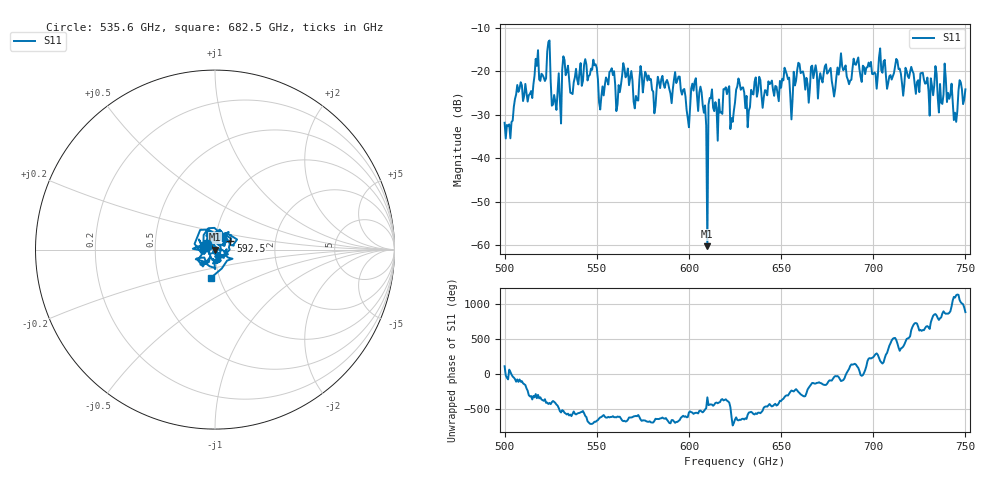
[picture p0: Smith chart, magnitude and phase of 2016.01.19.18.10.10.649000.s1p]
!Created with skrf (http://scikit-rf.org).
# GHz S RI R 50.0
!freq ReS11 ImS11
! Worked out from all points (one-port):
!   401 points, 500 GHz to 750 GHz, reference 50 ohm
!   lowest |S11| = -60.2 dB at 610 GHz (marker M1), VSWR 1.00, Z = 50.1 + j0.0492 ohm
!   |S11| at or under -10 dB: start of sweep to end of sweep
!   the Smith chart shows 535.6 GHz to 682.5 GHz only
!   S11 on the Smith chart (normalised r, x): 535.6 GHz: 0.91, +0.06; 592.5 GHz: 1.18, +0.11; 682.5 GHz: 0.91, -0.30
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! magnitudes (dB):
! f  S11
! 500 GHz  -31.9
! 517.5 GHz  -18.8
! 523.8 GHz  -13.3
! 526.9 GHz  -25.5
! 531.2 GHz  -19.6
! 535.6 GHz  -24.9
! 548.8 GHz  -18.7
! 552.5 GHz  -25.8
! 558.1 GHz  -19.3
! 562.5 GHz  -24.8
! 592.5 GHz  -20.2
! 593.8 GHz  -22.1
! 599.4 GHz  -30.8
! 602.5 GHz  -24.5
! 606.9 GHz  -24.8
! 610 GHz  -60.2
! 611.9 GHz  -26.2
! 625 GHz  -27.2
! 653.1 GHz  -20.8
! 656.2 GHz  -26.3
! 660 GHz  -18.3
! 664.4 GHz  -22.9
! 682.5 GHz  -15.9
! 687.5 GHz  -22.2
! 718.8 GHz  -21.2
! 740 GHz  -27.1
! 744.4 GHz  -29.5
! 750 GHz  -24.2
